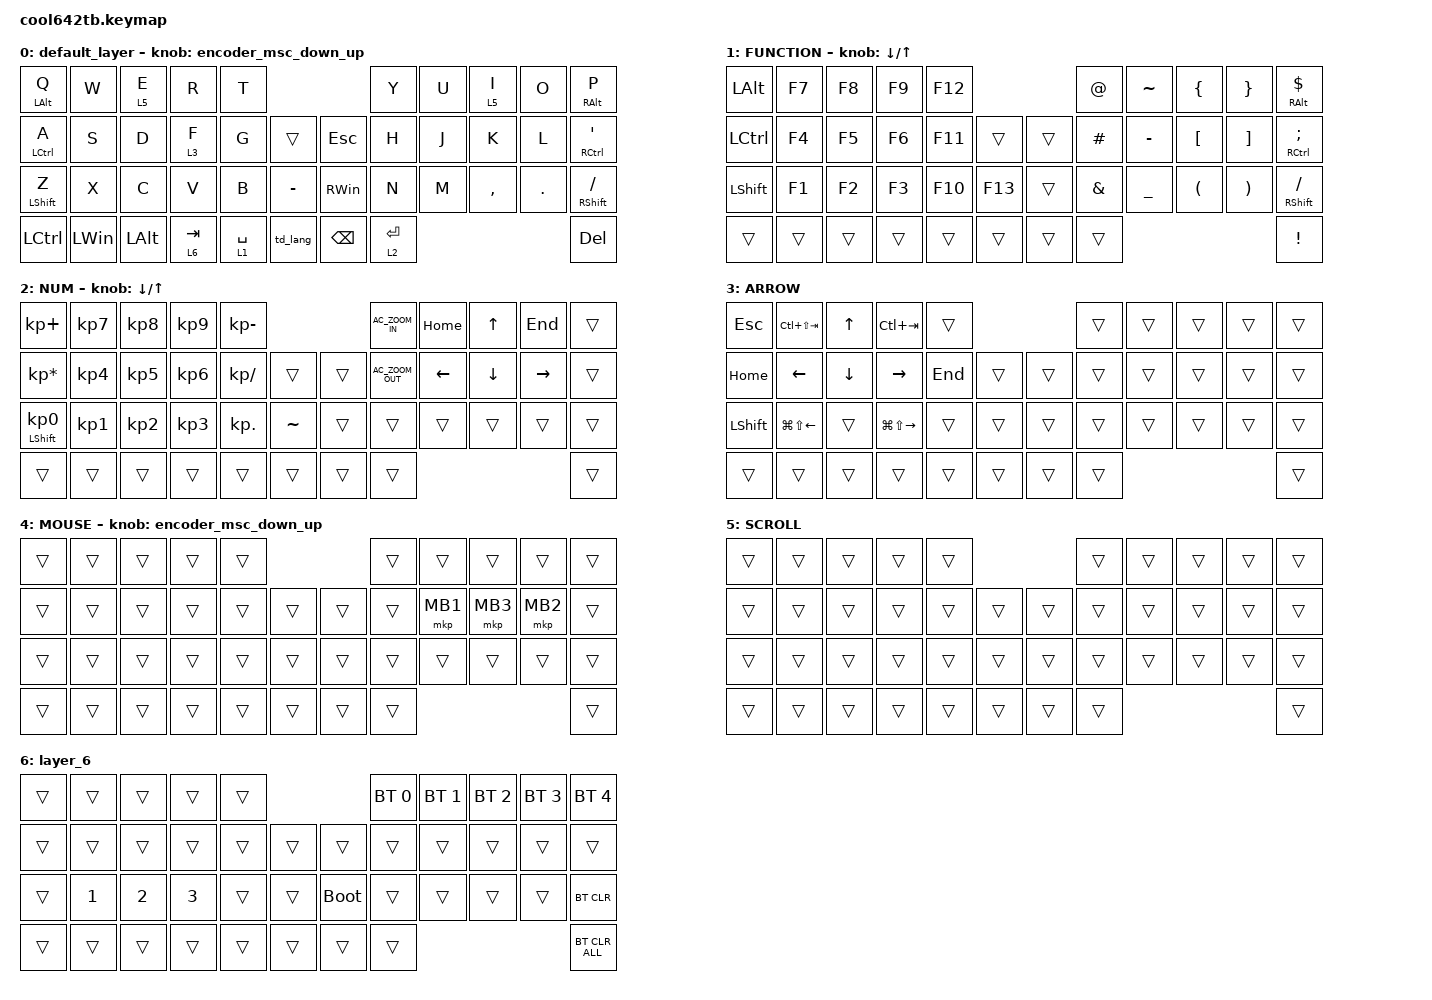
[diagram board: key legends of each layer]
#include <behaviors.dtsi>
#include <dt-bindings/zmk/bt.h>
#include <dt-bindings/zmk/keys.h>
#include <dt-bindings/zmk/pointing.h>

#define ZMK_MOUSE_DEFAULT_SCRL_VAL 80
#define MOUSE 4
#define SCROLL 5
#define NUM 2
#define ZMK_POINTING_DEFAULT_SCRL_VAL 30

&mt {
    flavor = "balanced";
    quick-tap-ms = <0>;
};

/ {
    combos {
        compatible = "zmk,combos";

         escape {
            bindings = <&kp ESCAPE>;
            key-positions = <1 2>;
        };

        tab {
            bindings = <&kp TAB>;
            key-positions = <11 12>;
        };

        percent {
            bindings = <&kp PRCNT>;
            key-positions = <14 15>;
        };
        
        minus {
            bindings = <&kp MINUS>;
            key-positions = <18 19>;
        };

        double_quotation {
            bindings = <&kp DOUBLE_QUOTES>;
            key-positions = <20 21>;
        };

        capslock {
            bindings = <&kp CAPSLOCK>;
            key-positions = <22 23>;
        };
        
        equal {
            bindings = <&kp EQUAL>;
            key-positions = <25 26>;
        };

        excl {
            bindings = <&kp EXCL>;
            key-positions = <31 32>;
        };
    };

    macros {
        to_layer_0: to_layer_0 {
            compatible = "zmk,behavior-macro-one-param";
            #binding-cells = <1>;
            bindings = <&to 0 &macro_param_1to1 &kp MACRO_PLACEHOLDER>;
            label = "TO_LAYER_0";
        };
    };

    behaviors {
        lt_to_layer_0: lt_to_layer_0 {
            compatible = "zmk,behavior-hold-tap";
            label = "LAYER_TAP_TO_0";
            bindings = <&mo>, <&to_layer_0>;

            #binding-cells = <2>;
            tapping-term-ms = <200>;
        };

        encoder_msc_down_up: encoder_msc_down_up {
            compatible = "zmk,behavior-sensor-rotate";
            label = "ENCODER_MSC_UP_DOWN";
            #sensor-binding-cells = <0>;
            bindings = <&msc SCRL_UP>, <&msc SCRL_DOWN>;

            tap-ms = <100>;
        };

        td_lang: td_language2_1 {
            compatible = "zmk,behavior-tap-dance";
            #binding-cells = <0>;
            tapping-term-ms = <250>;
            bindings = <&kp LANGUAGE_2>, <&kp LANGUAGE_1>;
        };
    };

    keymap {
        compatible = "zmk,keymap";

        default_layer {
            bindings = <
&mt LEFT_ALT Q    &kp W         &lt 5 E       &kp R                 &kp T                                             &kp Y        &kp U  &lt 5 I    &kp O    &mt RIGHT_ALT P
&mt LCTRL A       &kp S         &kp D         &lt 3 F               &kp G                   &trans     &kp ESCAPE     &kp H        &kp J  &kp K      &kp L    &mt RCTRL SQT
&mt LEFT_SHIFT Z  &kp X         &kp C         &kp V                 &kp B                   &kp MINUS  &kp RIGHT_WIN  &kp N        &kp M  &kp COMMA  &kp DOT  &mt RIGHT_SHIFT SLASH
&kp LCTRL         &kp LEFT_WIN  &kp LEFT_ALT  &lt_to_layer_0 6 TAB  &lt_to_layer_0 1 SPACE  &td_lang   &kp BACKSPACE  &lt 2 ENTER                             &kp DEL
            >;

            sensor-bindings = <&encoder_msc_down_up>;
        };

        FUNCTION {
            bindings = <
&kp LEFT_ALT    &kp F7  &kp F8  &kp F9  &kp F12                   &kp AT         &kp TILDE  &kp LEFT_BRACE        &kp RIGHT_BRACE        &mt RIGHT_ALT DOLLAR
&kp LCTRL       &kp F4  &kp F5  &kp F6  &kp F11  &trans   &trans  &kp HASH       &kp MINUS  &kp LEFT_BRACKET      &kp RIGHT_BRACKET      &mt RCTRL SEMICOLON
&kp LEFT_SHIFT  &kp F1  &kp F2  &kp F3  &kp F10  &kp F13  &trans  &kp AMPERSAND  &kp UNDER  &kp LEFT_PARENTHESIS  &kp RIGHT_PARENTHESIS  &mt RIGHT_SHIFT SLASH
&trans          &trans  &trans  &trans  &trans   &trans   &trans  &trans                                                                 &kp EXCL
            >;

            sensor-bindings = <&inc_dec_kp DOWN_ARROW UP_ARROW>;
        };

        NUM {
            bindings = <
&kp KP_PLUS                 &kp KP_NUMBER_7  &kp KP_NUMBER_8  &kp KP_NUMBER_9  &kp KP_MINUS                     &kp C_AC_ZOOM_IN   &kp HOME        &kp UP_ARROW    &kp END          &trans
&kp KP_ASTERISK             &kp KP_NUMBER_4  &kp KP_NUMBER_5  &kp KP_NUMBER_6  &kp KP_SLASH  &trans     &trans  &kp C_AC_ZOOM_OUT  &kp LEFT_ARROW  &kp DOWN_ARROW  &kp RIGHT_ARROW  &trans
&mt LEFT_SHIFT KP_NUMBER_0  &kp KP_NUMBER_1  &kp KP_NUMBER_2  &kp KP_NUMBER_3  &kp KP_DOT    &kp TILDE  &trans  &trans             &trans          &trans          &trans           &trans
&trans                      &trans           &trans           &trans           &trans        &trans     &trans  &trans                                                              &trans
            >;

            sensor-bindings = <&inc_dec_kp DOWN_ARROW UP_ARROW>;
        };

        ARROW {
            bindings = <
&kp ESCAPE      &kp LC(LS(TAB))         &kp UP_ARROW    &kp LC(TAB)              &trans                   &trans  &trans  &trans  &trans  &trans
&kp HOME        &kp LEFT_ARROW          &kp DOWN_ARROW  &kp RIGHT_ARROW          &kp END  &trans  &trans  &trans  &trans  &trans  &trans  &trans
&kp LEFT_SHIFT  &kp LG(LS(LEFT_ARROW))  &trans          &kp LG(LS(RIGHT_ARROW))  &trans   &trans  &trans  &trans  &trans  &trans  &trans  &trans
&trans          &trans                  &trans          &trans                   &trans   &trans  &trans  &trans                          &trans
            >;
        };

        MOUSE {
            bindings = <
&trans  &trans  &trans  &trans  &trans                  &trans  &trans    &trans    &trans    &trans
&trans  &trans  &trans  &trans  &trans  &trans  &trans  &trans  &mkp MB1  &mkp MB3  &mkp MB2  &trans
&trans  &trans  &trans  &trans  &trans  &trans  &trans  &trans  &trans    &trans    &trans    &trans
&trans  &trans  &trans  &trans  &trans  &trans  &trans  &trans                                &trans
            >;

            sensor-bindings = <&encoder_msc_down_up>;
        };

        SCROLL {
            bindings = <
&trans  &trans  &trans  &trans  &trans                  &trans  &trans  &trans  &trans  &trans
&trans  &trans  &trans  &trans  &trans  &trans  &trans  &trans  &trans  &trans  &trans  &trans
&trans  &trans  &trans  &trans  &trans  &trans  &trans  &trans  &trans  &trans  &trans  &trans
&trans  &trans  &trans  &trans  &trans  &trans  &trans  &trans                          &trans
            >;
        };

        layer_6 {
            bindings = <
&trans  &trans        &trans        &trans        &trans                       &bt BT_SEL 0  &bt BT_SEL 1  &bt BT_SEL 2  &bt BT_SEL 3  &bt BT_SEL 4
&trans  &trans        &trans        &trans        &trans  &trans  &trans       &trans        &trans        &trans        &trans        &trans
&trans  &kp NUMBER_1  &kp NUMBER_2  &kp NUMBER_3  &trans  &trans  &bootloader  &trans        &trans        &trans        &trans        &bt BT_CLR
&trans  &trans        &trans        &trans        &trans  &trans  &trans       &trans                                                  &bt BT_CLR_ALL
            >;
        };
    };
};
